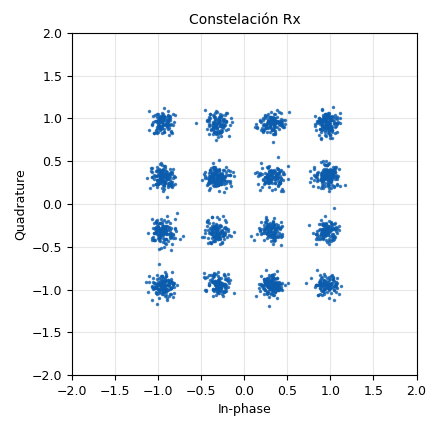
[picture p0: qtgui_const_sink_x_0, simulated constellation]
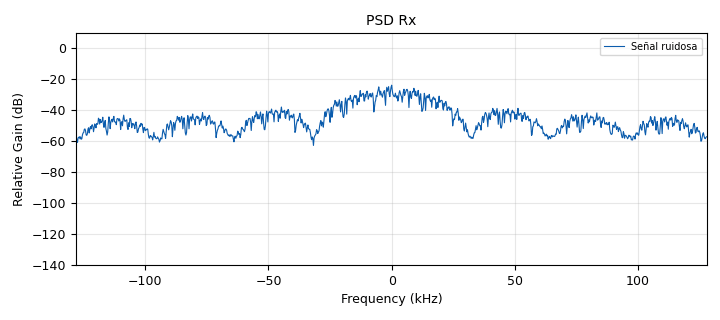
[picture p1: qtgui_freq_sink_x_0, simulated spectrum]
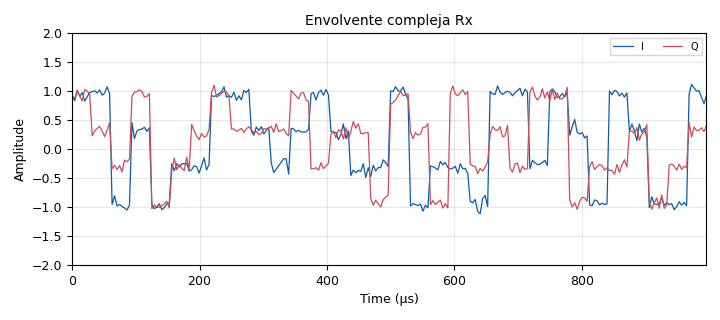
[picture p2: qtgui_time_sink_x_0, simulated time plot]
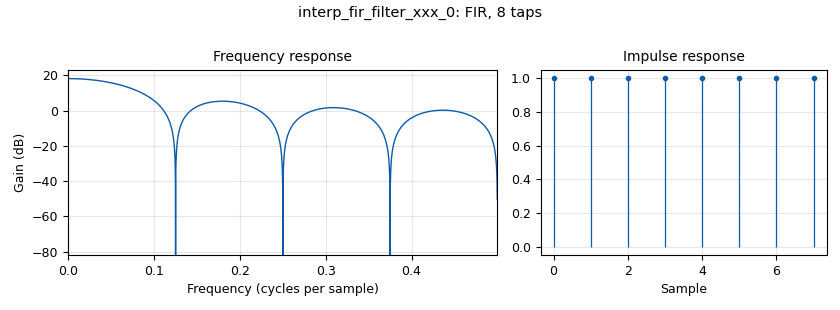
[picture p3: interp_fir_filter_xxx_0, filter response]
options:
  parameters:
    comment: GRC para analizar ruido AWGN en modulaciones basadas en constelaciones
    description: GRC con AWGN para OOK ASK BPSK QPSK 8PSK y 16QAM
    generate_options: qt_gui
    id: S4_16QAM_AWGN_Grupo2
    output_language: python
    title: S4 16QAM con AWGN - Grupo 2
  states: {}

blocks:
- name: M
  id: variable
  parameters:
    value: len(tabla_de_verdad_constelacion)
  states: {}
- name: Rb
  id: variable
  parameters:
    value: Rs*bps
  states: {}
- name: Rs
  id: variable
  parameters:
    value: '32000'
  states: {}
- name: Sps
  id: variable
  parameters:
    value: '8'
  states: {}
- name: bps
  id: variable
  parameters:
    value: int(math.log(M,2))
  states: {}
- name: h
  id: variable
  parameters:
    value: '[1]*Sps'
  states: {}
- name: noise_amp
  id: variable_qtgui_range
  parameters:
    label: Amplitud de ruido AWGN
    start: '0'
    step: '0.01'
    stop: '0.5'
    value: '0.10'
  states: {}
- name: samp_rate
  id: variable
  parameters:
    value: Rs*Sps
  states: {}
- name: tabla_de_verdad_constelacion
  id: variable
  parameters:
    comment: 16QAM Gray, potencia promedio unitaria (dividido entre raiz de 10)
    value: ((-3-3j)/math.sqrt(10), (-3-1j)/math.sqrt(10), (-3+3j)/math.sqrt(10), (-3+1j)/math.sqrt(10), (-1-3j)/math.sqrt(10), (-1-1j)/math.sqrt(10), (-1+3j)/math.sqrt(10), (-1+1j)/math.sqrt(10), (3-3j)/math.sqrt(10), (3-1j)/math.sqrt(10), (3+3j)/math.sqrt(10), (3+1j)/math.sqrt(10), (1-3j)/math.sqrt(10), (1-1j)/math.sqrt(10), (1+3j)/math.sqrt(10), (1+1j)/math.sqrt(10))
  states: {}
- name: analog_noise_source_x_0
  id: analog_noise_source_x
  parameters:
    amp: noise_amp
    noise_type: analog.GR_GAUSSIAN
    seed: '0'
    type: complex
  states: {}
- name: analog_random_source_x_0
  id: analog_random_source_x
  parameters:
    max: '2'
    min: '0'
    num_samps: '1000'
    repeat: 'True'
    type: byte
  states: {}
- name: blocks_add_xx_0
  id: blocks_add_xx
  parameters:
    type: complex
  states: {}
- name: blocks_pack_k_bits_bb_0
  id: blocks_pack_k_bits_bb
  parameters:
    k: '8'
  states: {}
- name: blocks_packed_to_unpacked_xx_0
  id: blocks_packed_to_unpacked_xx
  parameters:
    bits_per_chunk: bps
    endianness: gr.GR_MSB_FIRST
    type: byte
  states: {}
- name: digital_chunks_to_symbols_xx_0
  id: digital_chunks_to_symbols_xx
  parameters:
    dimension: '1'
    in_type: byte
    out_type: complex
    symbol_table: tabla_de_verdad_constelacion
  states: {}
- name: import_0
  id: import
  parameters:
    imports: import math
  states: {}
- name: interp_fir_filter_xxx_0
  id: interp_fir_filter_xxx
  parameters:
    interp: Sps
    taps: h
    type: ccf
  states: {}
- name: qtgui_const_sink_x_0
  id: qtgui_const_sink_x
  parameters:
    grid: 'True'
    label1: '"Señal ruidosa"'
    legend: 'False'
    name: '"Constelación Rx"'
    size: '2048'
    type: complex
  states: {}
- name: qtgui_freq_sink_x_0
  id: qtgui_freq_sink_x
  parameters:
    average: '0.1'
    bw: samp_rate
    fc: '0'
    fftsize: '1024'
    grid: 'True'
    label1: Señal ruidosa
    name: '"PSD Rx"'
    type: complex
  states: {}
- name: qtgui_time_sink_x_0
  id: qtgui_time_sink_x
  parameters:
    grid: 'True'
    label1: I
    label2: Q
    name: '"Envolvente compleja Rx"'
    size: '256'
    srate: samp_rate
    type: complex
    ymax: '2'
    ymin: '-2'
  states: {}
- name: throttle_0
  id: blocks_throttle2
  parameters:
    samples_per_second: samp_rate
    type: complex
  states: {}

connections:
- [analog_noise_source_x_0, '0', blocks_add_xx_0, '1']
- [analog_random_source_x_0, '0', blocks_pack_k_bits_bb_0, '0']
- [blocks_add_xx_0, '0', qtgui_const_sink_x_0, '0']
- [blocks_add_xx_0, '0', qtgui_freq_sink_x_0, '0']
- [blocks_add_xx_0, '0', qtgui_time_sink_x_0, '0']
- [blocks_pack_k_bits_bb_0, '0', blocks_packed_to_unpacked_xx_0, '0']
- [blocks_packed_to_unpacked_xx_0, '0', digital_chunks_to_symbols_xx_0, '0']
- [digital_chunks_to_symbols_xx_0, '0', interp_fir_filter_xxx_0, '0']
- [interp_fir_filter_xxx_0, '0', throttle_0, '0']
- [throttle_0, '0', blocks_add_xx_0, '0']

metadata:
  file_format: 1
  grc_version: 3.10.12.0
